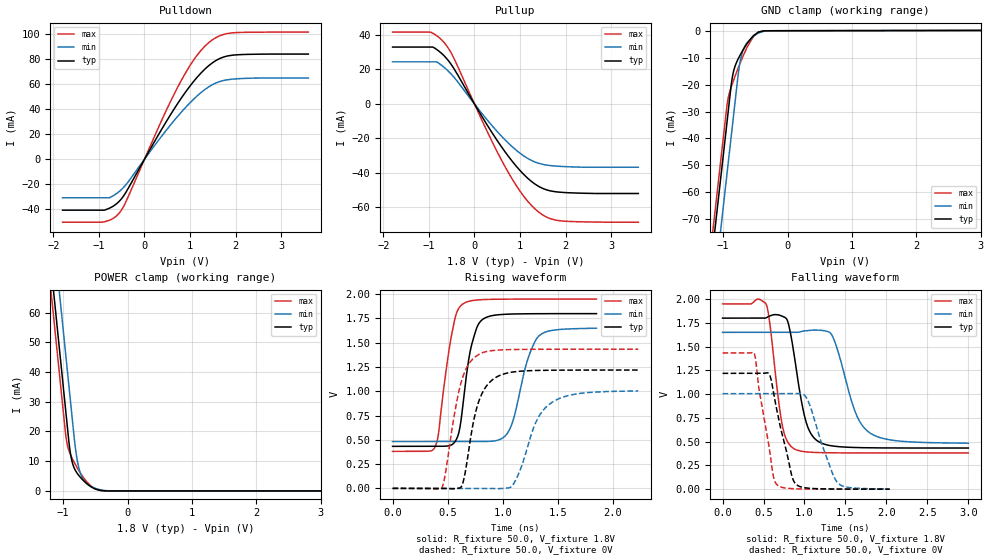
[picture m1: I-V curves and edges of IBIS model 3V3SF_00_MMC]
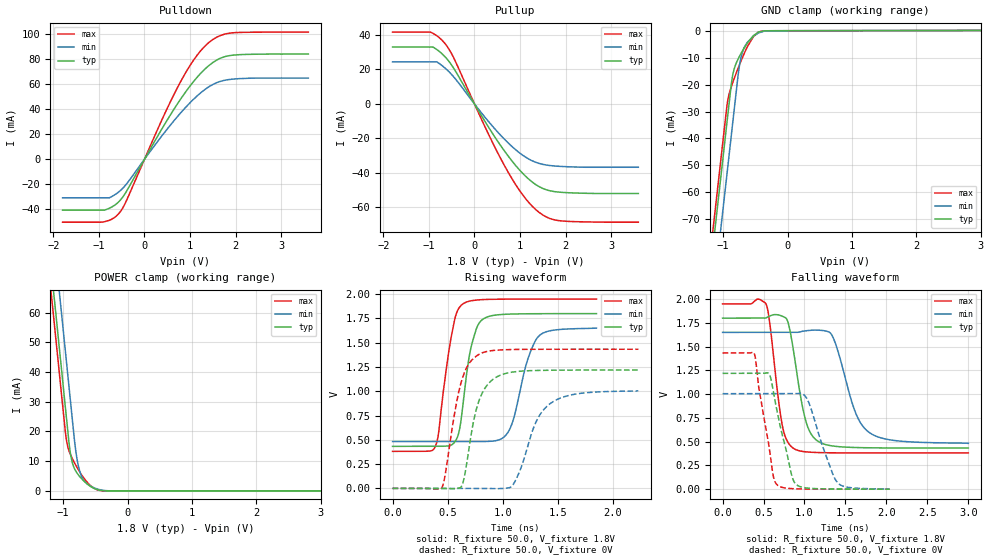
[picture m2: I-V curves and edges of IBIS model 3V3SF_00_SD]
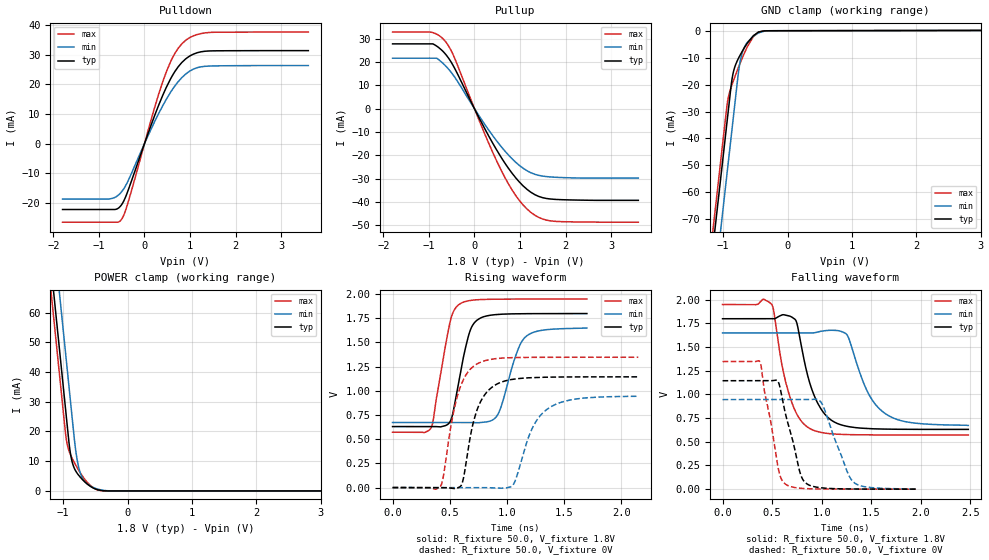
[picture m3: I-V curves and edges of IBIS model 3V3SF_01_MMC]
| IBIS file MCU.ibs
[IBIS Ver]   5.1
[Comment Char]   |_char
[File Name]   mcu_29x29.ibs
[File Rev]   1.1
[Date]   Wed March 26
[Source]   TIEplus
[Notes]
[Disclaimer] IMPORTANT NOTICE
  This information is provided on an AS IS basis and without warranty.
  IN NO EVENT SHALL TIEplus BE LIABLE FOR INCIDENTAL OR CONSEQUENTIAL
  DAMAGES ARISING FROM USE OF THIS INFORMATION. THIS DISCLAIMER OF
  WARRANTY EXTENDS TO THE USER OF THE INFORMATION, AND TO THEIR CUSTOMERS
  OR USERS OF PRODUCTS  AND IS IN LIEU OF ALL WARRANTIES WHETHER EXPRESS,
  IMPLIED, OR STATUTORY, INCLUDING IMPLIED WARRANTIES OF MERCHANTPCIeLITY
  OR FITNESS FOR PARTICULAR PURPOSE.
|   MCU
[Component]   MCU
[Manufacturer]   TIEplus
[Package]
| variable   typ   min   max
R_pkg   0.50181   0.071251   0.87203
L_pkg   3.032e-09   8.667e-10   5.190e-09
C_pkg   1.442e-12   7.770e-13   2.498e-12
[Pin] signal_name   model_name   R_pin   L_pin   C_pin
A15   PCIE_CTRL0_WAKE_B   3V3SF_OUTER   0.65437   3.912e-09 1.725e-12
A17   PCIE_CTRL0_CLKREQ_B   3V3SF_INNER   0.68404   4.044e-09 1.697e-12
A19   PCIE_SATA0_RX0_P   PCIe_SERDES   0.65685   4.000e-09 1.482e-12
A21   PCIE1_RX0_P   PCIe_SERDES   0.61374   3.771e-09 1.410e-12
A25   PCIE_CTRL1_CLKREQ_B   3V3SF_OUTER   0.85097   5.022e-09 2.136e-12
A27   PCIE_CTRL1_WAKE_B   3V3SF_INNER   0.87203   5.190e-09 2.111e-12
A29   PCIE0_RX0_P   PCIe_SERDES   0.60799   3.796e-09 1.403e-12
B16   PCIE_SATA0_TX0_P   PCIe_SERDES   0.66405   4.087e-09 1.502e-12
B20   PCIE_SATA0_RX0_N   PCIe_SERDES   0.65179   3.969e-09 1.493e-12
B22   PCIE1_RX0_N   PCIe_SERDES   0.60933   3.642e-09 1.423e-12
B24   PCIE1_TX0_P   PCIe_SERDES   0.54832   3.450e-09 1.344e-12
B26   PCIE0_TX0_P   PCIe_SERDES   0.53719   3.375e-09 1.333e-12
B30   PCIE0_RX0_N   PCIe_SERDES   0.60644   3.657e-09 1.420e-12
C17   PCIE_SATA0_TX0_N   PCIe_SERDES   0.66021   3.964e-09 1.538e-12
C25   PCIE1_TX0_N   PCIe_SERDES   0.54592   3.335e-09 1.359e-12
C27   PCIE0_TX0_N   PCIe_SERDES   0.53539   3.267e-09 1.337e-12
D20   PCIE_CTRL0_PERST_B   3V3SF_INNER   0.51533   3.133e-09 1.473e-12
D22   PCIE_REXT   NC   0.50872   3.207e-09 1.487e-12
E23   PCIE_REF_QR   NC   0.44778   2.848e-09 1.371e-12
E25   PCIE_SATA_REFCLK100M_N   NC   0.45847   2.806e-09 1.335e-12
F26   PCIE_SATA_REFCLK100M_P   NC   0.45666   2.807e-09 1.394e-12
[Diff Pin]  inv_pin  vdiff  tdelay_typ tdelay_min tdelay_max
A19   B20   NA   NA   NA   NA
A21   B22   NA   NA   NA   NA
A29   B30   NA   NA   NA   NA
B16   C17   NA   NA   NA   NA
B24   C25   NA   NA   NA   NA
B26   C27   NA   NA   NA   NA
F26   F25   NA   NA   NA   NA
|*   Model Selector   *
[Model Selector] PCIe_SERDES
PCIe_out   PCIe Serdes output
PCIe_in   PCIe Serdes input
[Model Selector] 3V3SF_INNER
3V3SF_00_SD   PSW=0 PDRV=0 MODE=1V8 SD
3V3SF_01_SD   PSW=0 PDRV=1 MODE=1V8 SD
3V3SF_00_MMC   PSW=0 PDRV=0 MODE=1V8 MMC
3V3SF_01_MMC   PSW=0 PDRV=1 MODE=1V8 MMC
3V3SF_10   PSW=1 PDRV=0 MODE=3V3 SD & 3V3 MMC
3V3SF_11   PSW=1 PDRV=1 MODE=3V3 SD & 3V3 MMC
3V3SF_11_2v7   PSW=1 PDRV=1 MODE=2V7 SD & 2V7 MMC
3V3SF_10_2v7   PSW=1 PDRV=0 MODE=2V7 SD & 2V7 MMC
[Model Selector] 3V3SF_OUTER
3V3SF_00_SD   PSW=0 PDRV=0 MODE=1V8 SD
3V3SF_01_SD   PSW=0 PDRV=1 MODE=1V8 SD
3V3SF_00_MMC   PSW=0 PDRV=0 MODE=1V8 MMC
3V3SF_01_MMC   PSW=0 PDRV=1 MODE=1V8 MMC
3V3SF_10   PSW=1 PDRV=0 MODE=3V3 SD & 3V3 MMC
3V3SF_11   PSW=1 PDRV=1 MODE=3V3 SD & 3V3 MMC
3V3SF_11_2v7   PSW=1 PDRV=1 MODE=2V7 SD & 2V7 MMC
3V3SF_10_2v7   PSW=1 PDRV=0 MODE=2V7 SD & 2V7 MMC
| End [Component] MCU_29x29
| Models and submodels in the file (10): 3V3SF_00_MMC (I/O), 3V3SF_00_SD (I/O), 3V3SF_01_MMC (I/O), 3V3SF_01_SD (I/O), 3V3SF_10 (I/O), 3V3SF_10_2v7 (I/O), 3V3SF_11 (I/O), 3V3SF_11_2v7 (I/O), PCIe_in (Input), PCIe_out (Output)
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[Model] 3V3SF_00_MMC
Model_type I/O
Polarity   Non-Inverting
Enable   Active-Low
| CAP_THRESHOLD on pad IO is "CMOS" :
| Rising=10.0% of vdde1v8   Falling=90.0% of vdde1v8
| C_comp min and max val. don't necessarily correlate with the min and max pvt
| but are the smallest and greatest pad capacitance found.
| var   typ   min   max
C_comp   1.39830pF  1.34155pF  1.49815pF
Vinl = 577.5mV
Vinh = 1.2675V
Vmeas = 900.0mV   | Reference voltage for timing measurements
Cref  = 15.0pF   | Timing specification test load capacitance value
Rref  = 1.0MOhm   | Timing specification test load resistance value
Vref  = 1.8V   | Timing specification test load voltage
[Model Spec]
| TIME_THRESHOLD on pin ZI is "CORE" :
| Rising=50.0% of vdd   Falling=50.0% of vdd
Vinl 630.00000mV 577.50000mV 682.50000mV
Vinh 1.17000V 1.07250V 1.26750V
Vmeas 900.00000mV 825.00000mV 975.00000mV
Vref 1.80000V 1.65000V 1.95000V
| variable   typ   min   max
[Temperature Range] 25.0 125.0 -40.0
| variable   typ   min   max
[Voltage Range] 1.8V 1.65V 1.95V
| variable   typ   min   max
[POWER Clamp Reference] 1.8V 1.65V 1.95V
| variable   typ   min   max
[GND Clamp Reference] 0V 0V 0V
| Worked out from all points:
|   slope of the pulldown table from 0 to 0.27 V, typ, clamps not added: 15.6 ohm
|   slope of the pullup table from 0 to 0.27 V, typ, clamps not added: 22.9 ohm
|   GND clamp passes 1 mA (typ) near -0.48 V on its own axis
|   POWER clamp passes 1 mA (typ) near -0.53 V on its own axis
|   rising waveform, R_fixture 50.0, V_fixture 1.8V: 20-80 % time 107ps typ, 157ps min, 115ps max; typ from 0.433 V to 1.8 V
|   falling waveform, R_fixture 50.0, V_fixture 1.8V: 20-80 % time 167ps typ, 251ps min, 132ps max; typ from 1.8 V to 0.433 V
|   rising waveform, R_fixture 50.0, V_fixture 0V: 20-80 % time 139ps typ, 204ps min, 139ps max; typ from 0 V to 1.22 V
|   falling waveform, R_fixture 50.0, V_fixture 0V: 20-80 % time 187ps typ, 230ps min, 162ps max; typ from 1.22 V to 0 V
[POWER Clamp]
-1.8V     205.4mA    224.3mA    197mA
-1.18V    73.7mA     92.59mA    65.32mA
-1.15V    67.33mA    86.21mA    58.94mA
-1.12V    60.95mA    79.84mA    52.57mA
-1.06V    48.21mA    67.09mA    39.82mA
-1.04V    43.96mA    62.84mA    35.57mA
-950mV    24.83mA    43.72mA    17.27mA
-870mV    10.67mA    26.72mA    11.43mA
-810mV    6.903mA    14.47mA    8.897mA
-750mV    5.031mA    7.231mA    6.647mA
-550mV    1.187mA    1.353mA    1.363mA
3.6V      0A         0A         0A
[GND Clamp]
-1.8V     -216.7mA   -235.8mA   -210.3mA
-1.21V    -91.31mA   -110.4mA   -84.92mA
-1.12V    -72.19mA   -91.31mA   -65.8mA
-1.04V    -55.19mA   -74.31mA   -48.8mA
-940mV    -33.94mA   -53.06mA   -27.67mA
-860mV    -17.66mA   -36.06mA   -19.86mA
-820mV    -13.54mA   -27.56mA   -17.22mA
-770mV    -10.64mA   -16.96mA   -14.08mA
-730mV    -8.79mA    -10.76mA   -11.68mA
-640mV    -5.176mA   -4.882mA   -6.772mA
-450mV    -492.8uA   -817.4uA   -452.4uA
3.6V      109.1uA    87.23uA    140.4uA
| variable   typ   min   max
[Pullup Reference] 1.8V 1.65V 1.95V
| variable   typ   min   max
[Pulldown Reference] 0V 0V 0V
[Pullup]
-1.8V     33.01mA    24.43mA    41.69mA
-970mV    33.01mA    24.43mA    41.69mA
-830mV    31.61mA    24.43mA    39.61mA
-650mV    27.45mA    20.88mA    35.09mA
-450mV    20.46mA    15.52mA    26.43mA
230mV     -10.11mA   -7.67mA    -13.19mA
650mV     -26.95mA   -20.22mA   -35.31mA
1.07V     -40.53mA   -29.91mA   -53.1mA
1.41V     -47.79mA   -34.4mA    -62.68mA
1.65V     -50.28mA   -35.67mA   -66.34mA
1.92V     -51.25mA   -36.24mA   -67.83mA
3.6V      -51.91mA   -36.69mA   -68.55mA
[Pulldown]
-1.8V     -40.72mA   -30.81mA   -50.32mA
-880mV    -40.72mA   -30.81mA   -49.95mA
-770mV    -39.14mA   -30.78mA   -48.76mA
-550mV    -33.42mA   -25.62mA   -42.78mA
-410mV    -26.53mA   -20.44mA   -34.14mA
310mV     19.77mA    15.24mA    25.67mA
740mV     45.16mA    34.78mA    58.35mA
1.07V     61.77mA    47.68mA    78.8mA
1.41V     74.77mA    57.84mA    93.2mA
1.65V     80.47mA    62.07mA    98.65mA
1.92V     83.13mA    63.99mA    101mA
3.6V      84.07mA    64.91mA    101.7mA
[Ramp]
dV/dt_r 730.88031mV/139.16999ps 602.53977mV/204.04864ps 857.11439mV/139.26821ps
dV/dt_f 819.81631mV/166.75087ps 700.29607mV/250.61073ps 940.88152mV/131.63143ps
R_load = 50.0
| Removed startup time: 0s 0s 0s  .
| Removed end time: 1.83ns.
[Rising Waveform]
R_fixture   = 50.0
V_fixture   = 1.8V
V_fixture_min = 1.65V
V_fixture_max = 1.95V
0s        432.9mV    482.2mV    381mV
380ps     433mV      482.2mV    414.4mV
530ps     444.8mV    482.2mV    1.547V
630ps     778.7mV    482.2mV    1.892V
710ps     1.442V     482.2mV    1.931V
820ps     1.742V     482.4mV    1.944V
1.06ns    1.794V     602.6mV    1.948V
1.22ns    1.798V     1.305V     1.949V
1.33ns    1.799V     1.572V     1.949V
1.85ns    1.799V     1.649V     1.949V
| Removed startup time: 0s 0s 0s  .
| Removed end time: 2.98ns.
[Falling Waveform]
R_fixture   = 50.0
V_fixture   = 1.8V
V_fixture_min = 1.65V
V_fixture_max = 1.95V
0s        1.799V     1.649V     1.949V
530ps     1.802V     1.649V     1.949V
730ps     1.819V     1.649V     666.8mV
870ps     1.434V     1.649V     427.1mV
1.02ns    705.3mV    1.666V     392.5mV
1.18ns    496mV      1.672V     384.8mV
1.34ns    454.8mV    1.612V     382.3mV
1.61ns    438.5mV    834.1mV    381.1mV
1.78ns    435.4mV    603.3mV    380.9mV
3ns       432.9mV    482.2mV    381mV
| Removed startup time: 0s 0s 0s  .
| Removed end time: 2.21ns.
[Rising Waveform]
R_fixture   = 50.0
V_fixture   = 0V
V_fixture_min = 0V
V_fixture_max = 0V
0s        115uV      108.4uV    131uV
450ps     -393.5uV   158.4uV    10.76mV
570ps     -3.214mV   89.69uV    818.4mV
630ps     29.5mV     128uV      1.122V
780ps     888.6mV    -292.4uV   1.377V
900ps     1.112V     -2.045mV   1.418V
1.09ns    1.198V     32.56mV    1.43V
1.31ns    1.214V     703.8mV    1.432V
1.46ns    1.217V     895mV      1.432V
2.23ns    1.218V     1.004V     1.432V
| Removed startup time: 0s 0s 0s  .
| Removed end time: 2.02ns.
[Falling Waveform]
R_fixture   = 50.0
V_fixture   = 0V
V_fixture_min = 0V
V_fixture_max = 0V
0s        1.218V     1.004V     1.432V
390ps     1.218V     1.004V     1.421V
570ps     1.208V     1.004V     433.5mV
620ps     1.028V     1.004V     134.3mV
670ps     800.4mV    1.004V     42.3mV
840ps     158.6mV    1.004V     5.985mV
910ps     42.06mV    1.006V     3.411mV
1.05ns    10.31mV    916.5mV    1.437mV
1.41ns    1.368mV    62.51mV    400.4uV
2.04ns    122.1uV    119.5uV    135.6uV
[Model] 3V3SF_00_SD
Model_type I/O
Polarity   Non-Inverting
Enable   Active-Low
| CAP_THRESHOLD on pad IO is "CMOS" :
| Rising=10.0% of vdde1v8   Falling=90.0% of vdde1v8
| C_comp min and max val. don't necessarily correlate with the min and max pvt
| but are the smallest and greatest pad capacitance found.
| var   typ   min   max
C_comp   1.39830pF  1.34155pF  1.49815pF
Vinl = 580.0mV
Vinh = 1.27V
Vmeas = 900.0mV   | Reference voltage for timing measurements
Cref  = 15.0pF   | Timing specification test load capacitance value
Rref  = 1.0MOhm   | Timing specification test load resistance value
Vref  = 1.8V   | Timing specification test load voltage
[Model Spec]
| TIME_THRESHOLD on pin ZI is "CORE" :
| Rising=50.0% of vdd   Falling=50.0% of vdd
Vmeas 900.00000mV 825.00000mV 975.00000mV
Vref 1.80000V 1.65000V 1.95000V
| variable   typ   min   max
[Temperature Range] 25.0 125.0 -40.0
| variable   typ   min   max
[Voltage Range] 1.8V 1.65V 1.95V
| variable   typ   min   max
[POWER Clamp Reference] 1.8V 1.65V 1.95V
| variable   typ   min   max
[GND Clamp Reference] 0V 0V 0V
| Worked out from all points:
|   slope of the pulldown table from 0 to 0.27 V, typ, clamps not added: 15.6 ohm
|   slope of the pullup table from 0 to 0.27 V, typ, clamps not added: 22.9 ohm
|   GND clamp passes 1 mA (typ) near -0.48 V on its own axis
|   POWER clamp passes 1 mA (typ) near -0.53 V on its own axis
|   rising waveform, R_fixture 50.0, V_fixture 1.8V: 20-80 % time 107ps typ, 157ps min, 115ps max; typ from 0.433 V to 1.8 V
|   falling waveform, R_fixture 50.0, V_fixture 1.8V: 20-80 % time 167ps typ, 251ps min, 132ps max; typ from 1.8 V to 0.433 V
|   rising waveform, R_fixture 50.0, V_fixture 0V: 20-80 % time 139ps typ, 204ps min, 139ps max; typ from 0 V to 1.22 V
|   falling waveform, R_fixture 50.0, V_fixture 0V: 20-80 % time 187ps typ, 230ps min, 162ps max; typ from 1.22 V to 0 V
[POWER Clamp]
-1.8V     205.4mA    224.3mA    197mA
-1.18V    73.7mA     92.59mA    65.32mA
-1.15V    67.33mA    86.21mA    58.94mA
-1.12V    60.95mA    79.84mA    52.57mA
-1.06V    48.21mA    67.09mA    39.82mA
-1.04V    43.96mA    62.84mA    35.57mA
-950mV    24.83mA    43.72mA    17.27mA
-870mV    10.67mA    26.72mA    11.43mA
-810mV    6.903mA    14.47mA    8.897mA
-750mV    5.031mA    7.231mA    6.647mA
-550mV    1.187mA    1.353mA    1.363mA
3.6V      0A         0A         0A
[GND Clamp]
-1.8V     -216.7mA   -235.8mA   -210.3mA
-1.21V    -91.31mA   -110.4mA   -84.92mA
-1.12V    -72.19mA   -91.31mA   -65.8mA
-1.04V    -55.19mA   -74.31mA   -48.8mA
-940mV    -33.94mA   -53.06mA   -27.67mA
-860mV    -17.66mA   -36.06mA   -19.86mA
-820mV    -13.54mA   -27.56mA   -17.22mA
-770mV    -10.64mA   -16.96mA   -14.08mA
-730mV    -8.79mA    -10.76mA   -11.68mA
-640mV    -5.176mA   -4.882mA   -6.772mA
-450mV    -492.8uA   -817.4uA   -452.4uA
3.6V      109.1uA    87.23uA    140.4uA
| variable   typ   min   max
[Pullup Reference] 1.8V 1.65V 1.95V
| variable   typ   min   max
[Pulldown Reference] 0V 0V 0V
[Pullup]
-1.8V     33.01mA    24.43mA    41.69mA
-970mV    33.01mA    24.43mA    41.69mA
-830mV    31.61mA    24.43mA    39.61mA
-650mV    27.45mA    20.88mA    35.09mA
-450mV    20.46mA    15.52mA    26.43mA
230mV     -10.11mA   -7.67mA    -13.19mA
650mV     -26.95mA   -20.22mA   -35.31mA
1.07V     -40.53mA   -29.91mA   -53.1mA
1.41V     -47.79mA   -34.4mA    -62.68mA
1.65V     -50.28mA   -35.67mA   -66.34mA
1.92V     -51.25mA   -36.24mA   -67.83mA
3.6V      -51.91mA   -36.69mA   -68.55mA
[Pulldown]
-1.8V     -40.72mA   -30.81mA   -50.32mA
-880mV    -40.72mA   -30.81mA   -49.95mA
-770mV    -39.14mA   -30.78mA   -48.76mA
-550mV    -33.42mA   -25.62mA   -42.78mA
-410mV    -26.53mA   -20.44mA   -34.14mA
310mV     19.77mA    15.24mA    25.67mA
740mV     45.16mA    34.78mA    58.35mA
1.07V     61.77mA    47.68mA    78.8mA
1.41V     74.77mA    57.84mA    93.2mA
1.65V     80.47mA    62.07mA    98.65mA
1.92V     83.13mA    63.99mA    101mA
3.6V      84.07mA    64.91mA    101.7mA
[Ramp]
dV/dt_r 730.88031mV/139.16999ps 602.53977mV/204.04864ps 857.11439mV/139.26821ps
dV/dt_f 819.81631mV/166.75087ps 700.29607mV/250.61073ps 940.88152mV/131.63143ps
R_load = 50.0
| Removed startup time: 0s 0s 0s  .
| Removed end time: 1.83ns.
[Rising Waveform]
R_fixture   = 50.0
V_fixture   = 1.8V
V_fixture_min = 1.65V
V_fixture_max = 1.95V
0s        432.9mV    482.2mV    381mV
380ps     433mV      482.2mV    414.4mV
530ps     444.8mV    482.2mV    1.547V
630ps     778.7mV    482.2mV    1.892V
710ps     1.442V     482.2mV    1.931V
820ps     1.742V     482.4mV    1.944V
1.06ns    1.794V     602.6mV    1.948V
1.22ns    1.798V     1.305V     1.949V
1.33ns    1.799V     1.572V     1.949V
1.85ns    1.799V     1.649V     1.949V
| Removed startup time: 0s 0s 0s  .
| Removed end time: 2.98ns.
[Falling Waveform]
R_fixture   = 50.0
V_fixture   = 1.8V
V_fixture_min = 1.65V
V_fixture_max = 1.95V
0s        1.799V     1.649V     1.949V
530ps     1.802V     1.649V     1.949V
730ps     1.819V     1.649V     666.8mV
870ps     1.434V     1.649V     427.1mV
1.02ns    705.3mV    1.666V     392.5mV
1.18ns    496mV      1.672V     384.8mV
1.34ns    454.8mV    1.612V     382.3mV
1.61ns    438.5mV    834.1mV    381.1mV
1.78ns    435.4mV    603.3mV    380.9mV
3ns       432.9mV    482.2mV    381mV
| Removed startup time: 0s 0s 0s  .
| Removed end time: 2.21ns.
[Rising Waveform]
R_fixture   = 50.0
V_fixture   = 0V
V_fixture_min = 0V
V_fixture_max = 0V
0s        115uV      108.4uV    131uV
450ps     -393.5uV   158.4uV    10.76mV
570ps     -3.214mV   89.69uV    818.4mV
630ps     29.5mV     128uV      1.122V
780ps     888.6mV    -292.4uV   1.377V
900ps     1.112V     -2.045mV   1.418V
1.09ns    1.198V     32.56mV    1.43V
1.31ns    1.214V     703.8mV    1.432V
1.46ns    1.217V     895mV      1.432V
2.23ns    1.218V     1.004V     1.432V
| Removed startup time: 0s 0s 0s  .
| Removed end time: 2.02ns.
[Falling Waveform]
R_fixture   = 50.0
V_fixture   = 0V
V_fixture_min = 0V
V_fixture_max = 0V
0s        1.218V     1.004V     1.432V
390ps     1.218V     1.004V     1.421V
570ps     1.208V     1.004V     433.5mV
620ps     1.028V     1.004V     134.3mV
670ps     800.4mV    1.004V     42.3mV
840ps     158.6mV    1.004V     5.985mV
910ps     42.06mV    1.006V     3.411mV
1.05ns    10.31mV    916.5mV    1.437mV
1.41ns    1.368mV    62.51mV    400.4uV
2.04ns    122.1uV    119.5uV    135.6uV
[Model] 3V3SF_01_MMC
Model_type I/O
Polarity   Non-Inverting
Enable   Active-Low
| CAP_THRESHOLD on pad IO is "CMOS" :
| Rising=10.0% of vdde1v8   Falling=90.0% of vdde1v8
| C_comp min and max val. don't necessarily correlate with the min and max pvt
| but are the smallest and greatest pad capacitance found.
| var   typ   min   max
C_comp   1.39700pF  1.34055pF  1.49705pF
Vinl = 577.5mV
Vinh = 1.2675V
Vmeas = 900.0mV   | Reference voltage for timing measurements
Cref  = 15.0pF   | Timing specification test load capacitance value
Rref  = 1.0MOhm   | Timing specification test load resistance value
Vref  = 1.8V   | Timing specification test load voltage
[Model Spec]
| TIME_THRESHOLD on pin ZI is "CORE" :
| Rising=50.0% of vdd   Falling=50.0% of vdd
Vinl 630.00000mV 577.50000mV 682.50000mV
Vinh 1.17000V 1.07250V 1.26750V
Vmeas 900.00000mV 825.00000mV 975.00000mV
Vref 1.80000V 1.65000V 1.95000V
| variable   typ   min   max
[Temperature Range] 25.0 125.0 -40.0
| variable   typ   min   max
[Voltage Range] 1.8V 1.65V 1.95V
| variable   typ   min   max
[POWER Clamp Reference] 1.8V 1.65V 1.95V
| variable   typ   min   max
[GND Clamp Reference] 0V 0V 0V
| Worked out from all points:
|   slope of the pulldown table from 0 to 0.27 V, typ, clamps not added: 23.9 ohm
|   slope of the pullup table from 0 to 0.27 V, typ, clamps not added: 26.6 ohm
|   GND clamp passes 1 mA (typ) near -0.48 V on its own axis
|   POWER clamp passes 1 mA (typ) near -0.53 V on its own axis
|   rising waveform, R_fixture 50.0, V_fixture 1.8V: 20-80 % time 120ps typ, 148ps min, 122ps max; typ from 0.631 V to 1.8 V
|   falling waveform, R_fixture 50.0, V_fixture 1.8V: 20-80 % time 198ps typ, 248ps min, 179ps max; typ from 1.8 V to 0.631 V
|   rising waveform, R_fixture 50.0, V_fixture 0V: 20-80 % time 143ps typ, 196ps min, 141ps max; typ from 0 V to 1.15 V
|   falling waveform, R_fixture 50.0, V_fixture 0V: 20-80 % time 159ps typ, 199ps min, 138ps max; typ from 1.15 V to 0 V
[POWER Clamp]
-1.8V     205.4mA    224.3mA    197mA
-1.18V    73.7mA     92.59mA    65.32mA
-1.15V    67.33mA    86.21mA    58.94mA
-1.12V    60.95mA    79.84mA    52.57mA
-1.06V    48.21mA    67.09mA    39.82mA
-1.04V    43.96mA    62.84mA    35.57mA
-950mV    24.83mA    43.72mA    17.27mA
-870mV    10.67mA    26.72mA    11.43mA
-810mV    6.903mA    14.47mA    8.897mA
-750mV    5.031mA    7.231mA    6.647mA
-550mV    1.187mA    1.353mA    1.363mA
3.6V      0A         0A         0A
[GND Clamp]
-1.8V     -216.7mA   -235.8mA   -210.3mA
-1.21V    -91.31mA   -110.4mA   -84.92mA
-1.12V    -72.19mA   -91.31mA   -65.8mA
-1.04V    -55.19mA   -74.31mA   -48.8mA
-940mV    -33.94mA   -53.06mA   -27.67mA
-860mV    -17.66mA   -36.06mA   -19.86mA
-820mV    -13.54mA   -27.56mA   -17.22mA
-770mV    -10.64mA   -16.96mA   -14.08mA
-730mV    -8.79mA    -10.76mA   -11.68mA
-640mV    -5.176mA   -4.882mA   -6.772mA
-450mV    -492.8uA   -817.4uA   -452.4uA
3.6V      109.1uA    87.23uA    140.4uA
| variable   typ   min   max
[Pullup Reference] 1.8V 1.65V 1.95V
| variable   typ   min   max
[Pulldown Reference] 0V 0V 0V
[Pullup]
-1.8V     27.77mA    21.63mA    32.82mA
-920mV    27.77mA    21.63mA    32.59mA
-830mV    26.81mA    21.63mA    31.93mA
-630mV    23.2mA     18.24mA    28.58mA
-450mV    17.82mA    13.95mA    22.27mA
230mV     -8.713mA   -6.829mA   -11.03mA
570mV     -20.33mA   -15.84mA   -25.72mA
910mV     -29.71mA   -23.01mA   -37.29mA
1.24V     -35.8mA    -27.44mA   -44.43mA
1.5V      -38.12mA   -28.87mA   -47.27mA
1.75V     -38.81mA   -29.34mA   -48.21mA
3.6V      -39.25mA   -29.74mA   -48.61mA
[Pulldown]
-1.8V     -22.2mA    -18.67mA   -26.46mA
-780mV    -22.2mA    -18.67mA   -26.46mA
-610mV    -22.04mA   -17.76mA   -26.46mA
-500mV    -20.5mA    -16.16mA   -25.41mA
-360mV    -15.76mA   -12.53mA   -19.76mA
140mV     6.017mA    4.706mA    7.753mA
400mV     16.23mA    12.74mA    20.79mA
650mV     23.85mA    19.04mA    29.89mA
910mV     28.6mA     23.5mA     34.86mA
1.07V     30.1mA     25.07mA    36.27mA
1.33V     31.11mA    26.03mA    37.29mA
3.6V      31.31mA    26.28mA    37.56mA
[Ramp]
dV/dt_r 686.83044mV/142.6003ps 567.34935mV/196.26704ps 808.86927mV/140.91314ps
dV/dt_f 700.93528mV/197.57155ps 585.82866mV/248.40399ps 825.4008mV/179.20548ps
R_load = 50.0
| Removed startup time: 0s 0s 0s  .
| Removed end time: 1.68ns.
[Rising Waveform]
R_fixture   = 50.0
V_fixture   = 1.8V
V_fixture_min = 1.65V
V_fixture_max = 1.95V
0s        630.9mV    672.9mV    572.5mV
340ps     631.2mV    672.9mV    624.3mV
500ps     675.4mV    673mV      1.697V
590ps     1.163V     673mV      1.9V
680ps     1.627V     673mV      1.935V
770ps     1.754V     672.9mV    1.944V
920ps     1.79V      754.9mV    1.948V
1.08ns    1.797V     1.372V     1.949V
1.16ns    1.798V     1.554V     1.949V
1.7ns     1.799V     1.649V     1.949V
| Removed startup time: 0s 0s 0s  .
| Removed end time: 2.46ns.
[Falling Waveform]
R_fixture   = 50.0
V_fixture   = 1.8V
V_fixture_min = 1.65V
V_fixture_max = 1.95V
0s        1.799V     1.649V     1.949V
500ps     1.798V     1.649V     1.945V
620ps     1.841V     1.649V     1.206V
740ps     1.781V     1.649V     810.9mV
890ps     1.087V     1.649V     634.8mV
1.04ns    781.9mV    1.674V     590.9mV
1.25ns    664.7mV    1.636V     576.5mV
1.47ns    639.8mV    1.013V     573.2mV
1.67ns    633.7mV    778.9mV    572.5mV
2.48ns    630.9mV    672.9mV    572.5mV
| Removed startup time: 0s 0s 0s  .
| Removed end time: 2.13ns.
[Rising Waveform]
R_fixture   = 50.0
V_fixture   = 0V
V_fixture_min = 0V
V_fixture_max = 0V
0s        153.2uV    140.2uV    179uV
420ps     -546.1uV   125.4uV    13.56mV
530ps     -9.393mV   171.9uV    759.2mV
600ps     20.36mV    100.8uV    1.063V
740ps     806.1mV    73.39uV    1.279V
860ps     1.028V     -1.713mV   1.326V
1.05ns    1.119V     21.74mV    1.343V
1.22ns    1.136V     608.1mV    1.346V
1.39ns    1.142V     838.7mV    1.347V
2.15ns    1.145V     945.7mV    1.347V
| Removed startup time: 0s 0s 0s  .
| Removed end time: 1.93ns.
[Falling Waveform]
R_fixture   = 50.0
V_fixture   = 0V
V_fixture_min = 0V
V_fixture_max = 0V
0s        1.145V     945.7mV    1.347V
380ps     1.145V     945.7mV    1.341V
560ps     1.137V     945.7mV    231.8mV
640ps     771.8mV    945.8mV    49.11mV
790ps     148mV      945.8mV    9.496mV
860ps     49.92mV    945.8mV    5.047mV
1ns       14.01mV    907.3mV    1.817mV
1.26ns    2.554mV    178.5mV    582uV
1.33ns    1.774mV    66.88mV    498.1uV
1.95ns    162.5uV    154.4uV    185.3uV
